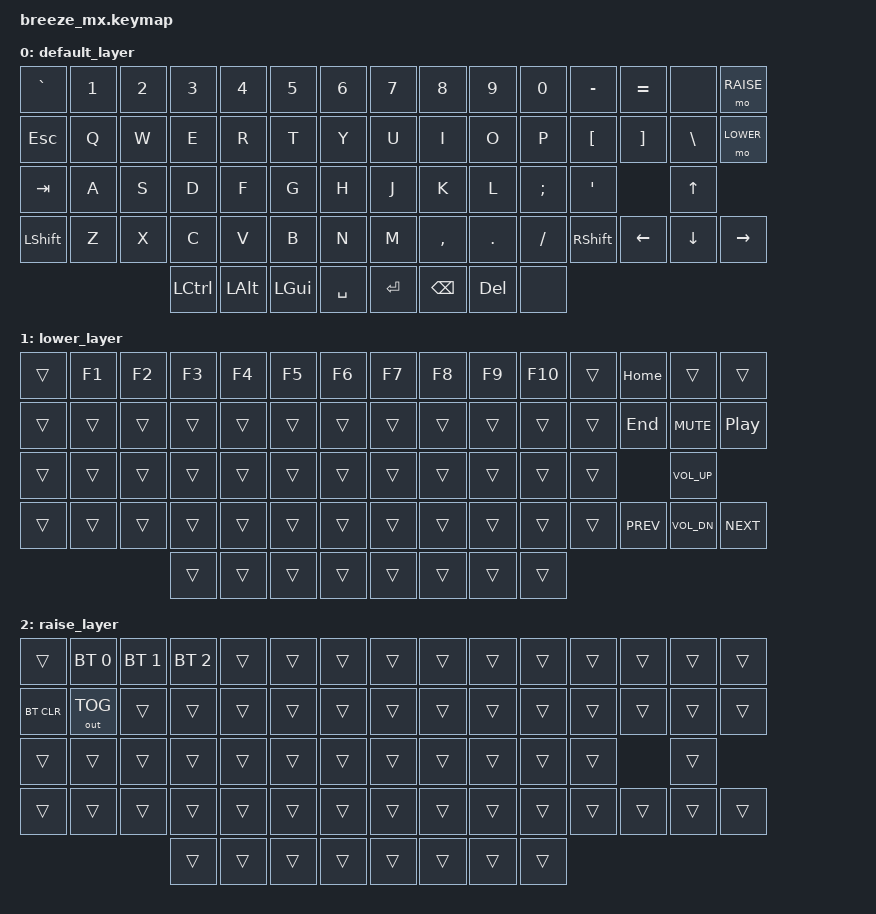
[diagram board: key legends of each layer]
/*
 * Copyright (c) 2022 The ZMK Contributors
 *
 * SPDX-License-Identifier: MIT
 */

#include <behaviors.dtsi>
#include <dt-bindings/zmk/keys.h>
#include <dt-bindings/zmk/bt.h>
#include <dt-bindings/zmk/ext_power.h>
#include <dt-bindings/zmk/outputs.h>

#define DEFAULT 0
#define LOWER   1
#define RAISE   2

/ {
	keymap {
		compatible = "zmk,keymap";

		default_layer {

// Ref: https://zmkfirmware.dev/docs/codes/

// ------------------------------------------------------------------------------------------------------------
// |  ~/`  | 1/! | 2/@ | 3/# | 4/$ | 5/% |                  | 6/^  | 7/& | 8/* | 9/( | 0/) |  -/_  | +/=  |       | RAISE |
// |  ESC  |  Q  |  W  |  E  |  R  |  T  |                  |  Y   |  U  |  I  |  O  |  P  |  {/[  | }/]  |  \/|  | LOWER |
// |  TAB  |  A  |  S  |  D  |  F  |  G  |                  |  H   |  J  |  K  |  L  | ;/: |  "/,  |      |   UP  |       |
// | SHIFT |  Z  |  X  |  C  |  V  |  B  |                  |  N   |  M  |  ,  |  .  | ?// | SHIFT | LEFT | DOWN  | RIGHT |
//                     | CTL | ALT | CMD | SPACE |  | ENTER | BKSP | DEL |     |
			bindings = <
&kp GRAVE &kp N1 &kp N2 &kp N3    &kp N4   &kp N5                     &kp N6   &kp N7  &kp N8    &kp N9  &kp N0   &kp MINUS &kp EQUAL &none     &mo RAISE
&kp ESC   &kp Q  &kp W  &kp E     &kp R    &kp T                      &kp Y    &kp U   &kp I     &kp O   &kp P    &kp LBKT  &kp RBKT  &kp BSLH  &mo LOWER
&kp TAB   &kp A  &kp S  &kp D     &kp F    &kp G                      &kp H    &kp J   &kp K     &kp L   &kp SEMI &kp APOS            &kp UP
&kp LSHFT &kp Z  &kp X  &kp C     &kp V    &kp B                      &kp N    &kp M   &kp COMMA &kp DOT &kp FSLH &kp RSHFT &kp LEFT  &kp DOWN  &kp RIGHT
                        &kp LCTRL &kp LALT &kp LGUI &kp SPACE &kp RET &kp BSPC &kp DEL &none
			>;
		};

		lower_layer {
// ----------------------------------------------------------------------------------------------------------------------------------
// |      |  F1  |  F2  |  F3  |  F4  |  F5  |                  |  F6  |  F7  |  F8  |  F9  |  F10   |      | |  HOME   |           |          |
// |      |      |      |      |      |      |                  |      |      |      |      |        |      | |   END   |    Mute   |   Play   |
// |      |      |      |      |      |      |                  |      |      |      |      |        |      | |         |    Vol+   |          |
// |      |      |      |      |      |      |                  |      |      |      |      |        |      | |  Prev   |    Vol-   |   Next   |
//                      |      |      |      |       |  |       |      |      |      |
			bindings = <
&trans     &kp F1 &kp F2 &kp F3 &kp F4 &kp F5                    &kp F6 &kp F7 &kp F8 &kp F9  &kp F10 &trans  &kp HOME   &trans        &trans
&trans     &trans &trans &trans &trans &trans                    &trans &trans &trans &trans  &trans  &trans  &kp END    &kp C_MUTE    &kp C_PLAY_PAUSE
&trans     &trans &trans &trans &trans &trans                    &trans &trans &trans &trans  &trans  &trans             &kp C_VOL_UP
&trans     &trans &trans &trans &trans &trans                    &trans &trans &trans &trans  &trans  &trans  &kp C_PREV &kp C_VOL_DN  &kp C_NEXT
                         &trans &trans &trans  &trans    &trans  &trans &trans &trans
			>;
		};

		raise_layer {
// ----------------------------------------------------------------------------------------------------------------------------------
// |        |    BT1   |    BT2    |     BT3    |      |      |                |      |      |      |      |      |      | |      |      |      |
// | BT_CLR |BT/USB TOG|           |            |      |      |                |      |      |      |      |      |      | |      |      |      |
// |        |          |           |            |      |      |                |      |      |      |      |      |      | |      |      |      |
// |        |          |           |            |      |      |                |      |      |      |      |      |      | |      |      |      |
//                                 |            |      |      |      |  |      |      |      |      |
			bindings = <
&trans     &bt BT_SEL 0 &bt BT_SEL 1 &bt BT_SEL 2 &trans &trans                 &trans &trans &trans &trans &trans &trans   &trans &trans &trans
&bt BT_CLR &out OUT_TOG &trans       &trans       &trans &trans                 &trans &trans &trans &trans &trans &trans   &trans &trans &trans
&trans     &trans       &trans       &trans       &trans &trans                 &trans &trans &trans &trans &trans &trans           &trans
&trans     &trans       &trans       &trans       &trans &trans                 &trans &trans &trans &trans &trans &trans   &trans &trans &trans
                                     &trans       &trans &trans &trans   &trans &trans &trans &trans
			>;
		};
	};
};
